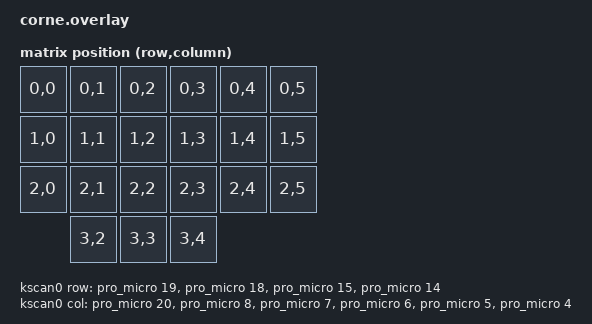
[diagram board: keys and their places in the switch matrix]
/* config/corne.overlay */
/* SuperMini NRF52840 "Face Up" (칩이 보임) 전용 핀맵 */

#include <dt-bindings/zmk/matrix_transform.h>

/ {
    chosen {
        zmk,matrix-transform = &default_transform;
    };

    default_transform: keymap_transform {
        compatible = "zmk,matrix-transform";
        rows = <4>;
        columns = <6>;

        map = <
            RC(0,0) RC(0,1) RC(0,2) RC(0,3) RC(0,4) RC(0,5)
            RC(1,0) RC(1,1) RC(1,2) RC(1,3) RC(1,4) RC(1,5)
            RC(2,0) RC(2,1) RC(2,2) RC(2,3) RC(2,4) RC(2,5)
                        RC(3,2) RC(3,3) RC(3,4)
        >;
    };
};

&kscan0 {
    compatible = "zmk,kscan-gpio-matrix";
    wakeup-source;
    diode-direction = "col2row";

   compatible = "zmk,kscan-gpio-matrix";
        label = "KSCAN";
        diode-direction = "col2row";
        wakeup-source;

        /* * Corne 4-row structure
         * 판매자가 제공한 Row 핀맵 (4 lines)
         * Pro Micro: 19, 18, 15, 14
         */
        row-gpios
            = <&pro_micro 19 (GPIO_ACTIVE_HIGH | GPIO_PULL_DOWN)>
            , <&pro_micro 18 (GPIO_ACTIVE_HIGH | GPIO_PULL_DOWN)>
            , <&pro_micro 15 (GPIO_ACTIVE_HIGH | GPIO_PULL_DOWN)>
            , <&pro_micro 14 (GPIO_ACTIVE_HIGH | GPIO_PULL_DOWN)>
            ;
        
        /* * Corne 6-col structure
         * 판매자가 제공한 Col 핀맵 (6 lines)
         * Pro Micro: 20, 8, 7, 6, 5, 4
         */
        col-gpios
            = <&pro_micro 20 GPIO_ACTIVE_HIGH>
            , <&pro_micro 8  GPIO_ACTIVE_HIGH>
            , <&pro_micro 7  GPIO_ACTIVE_HIGH>
            , <&pro_micro 6  GPIO_ACTIVE_HIGH>
            , <&pro_micro 5  GPIO_ACTIVE_HIGH>
            , <&pro_micro 4  GPIO_ACTIVE_HIGH>
            ;
};

/* 배터리 센서 설정 유지 */
/ {
    chosen {
        zmk,battery = &vbatt;
    };
    vbatt: vbatt {
        compatible = "zmk,battery-nrf-vddh";
    };
};
